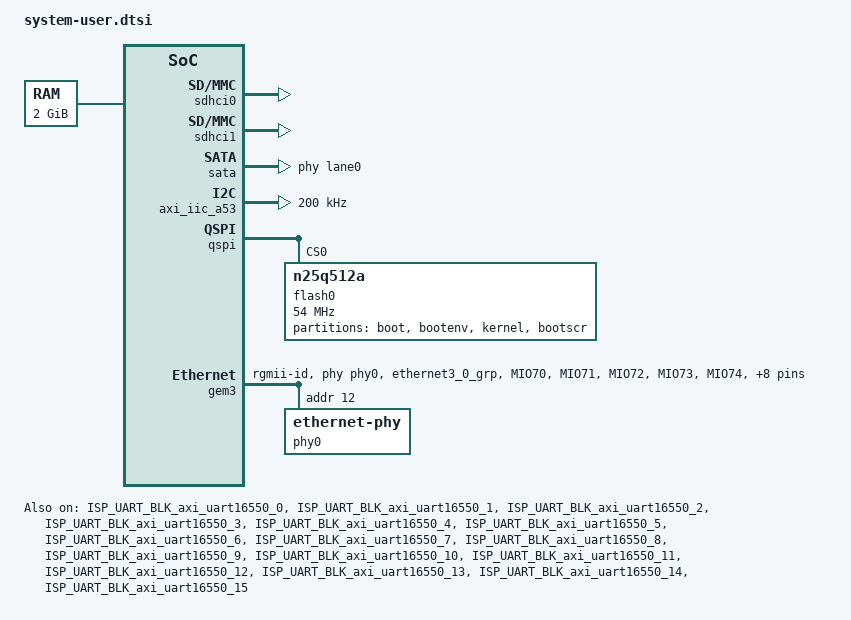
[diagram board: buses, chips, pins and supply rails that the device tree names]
/include/ "system-conf.dtsi"

/* EMMC */
&sdhci0 {
    status = "okay";
    max-frequency = <50000000>;
    /* clk-phase-sd-hs = <63>, <72>; */
};

/* SD */
&sdhci1 {
    status = "okay";
    max-frequency = <50000000>;
    no-1-8-v; /* for 1.0 silicon */
    disable-wp;
};

&sata {
    status = "okay";
    phy-names = "sata-phy";
    phys = <&lane0 1 0 0 150000000>,
           <&lane1 1 1 0 150000000>;
};

&axi_iic_a53 {
    clock-frequency = <200000>;
    status = "okay";
};

&INTERRUPT_axi_intc_1 {
    status = "ok";
};

&ISP_UART_BLK_axi_uart16550_0 {
    status = "okay";
    current-speed = <921600>;
};

&ISP_UART_BLK_axi_uart16550_1 {
    status = "okay";
    current-speed = <921600>;
};

&ISP_UART_BLK_axi_uart16550_2 {
    status = "okay";
    current-speed = <921600>;
};

&ISP_UART_BLK_axi_uart16550_3 {
    status = "okay";
    current-speed = <921600>;
};

&ISP_UART_BLK_axi_uart16550_4 {
    status = "okay";
    current-speed = <921600>;
};

&ISP_UART_BLK_axi_uart16550_5 {
    status = "okay";
    current-speed = <921600>;
};

&ISP_UART_BLK_axi_uart16550_6 {
    status = "okay";
    current-speed = <921600>;
};

&ISP_UART_BLK_axi_uart16550_7 {
    status = "okay";
    current-speed = <921600>;
};

&ISP_UART_BLK_axi_uart16550_8 {
    status = "okay";
    current-speed = <921600>;
};

&ISP_UART_BLK_axi_uart16550_9 {
    status = "okay";
    current-speed = <921600>;
};

&ISP_UART_BLK_axi_uart16550_10 {
    status = "okay";
    current-speed = <921600>;
};

&ISP_UART_BLK_axi_uart16550_11 {
    status = "okay";
    current-speed = <921600>;
};

&ISP_UART_BLK_axi_uart16550_12 {
    status = "okay";
    current-speed = <921600>;
};

&ISP_UART_BLK_axi_uart16550_13 {
    status = "okay";
    current-speed = <921600>;
};

&ISP_UART_BLK_axi_uart16550_14 {
    status = "okay";
    current-speed = <921600>;
};

&ISP_UART_BLK_axi_uart16550_15 {
    status = "okay";
    current-speed = <921600>;
};

&qspi {
    flash0: flash@0 {
        compatible = "n25q512a", "jedec,spi-nor"; /* 64MB */
        #address-cells = <1>;
        #size-cells = <1>;
        reg = <0x0>;
        spi-tx-bus-width = <4>;
        spi-rx-bus-width = <4>; /* FIXME also DUAL configuration possible */
        spi-max-frequency = <54000000>;
        partition@0 {
            label = "boot";
            reg = <0x00000000 0x01c00000>;
        };
        partition@1 {
            label = "bootenv";
            reg = <0x01c00000 0x00010000>;
        };
        partition@2 {
            label = "kernel";
            reg = <0x01c10000 0x01c00000>;
        };
        partition@3 {
            label = "bootscr";
            reg = <0x03810000 0x00080000>;
        };
    };
};

&uart1 {
    status = "disabled";
};

&spi0 {
    status = "disabled";
};

&can0 {
    status = "disabled";
};

&can1 {
    status = "disabled";
};

&i2c0 {
    status = "disabled";
};

&i2c1 {
    status = "disabled";
};

&CAN_BLK_can_0 {
    status = "disabled";
};

&CAN_BLK_can_1 {
    status = "disabled";
};

&CAN_BLK_can_2 {
    status = "disabled";
};

&CAN_BLK_can_3 {
    status = "disabled";
};

&CAN_BLK_can_4 {
    status = "disabled";
};

&CAN_BLK_can_5 {
    status = "disabled";
};

&CAN_BLK_can_6 {
    status = "disabled";
};

&CAN_BLK_canfd_7 {
    status = "disabled";
};

&INTERRUPT_axi_intc_0 {
    status = "disabled";
};

&gem3 {
    status = "okay";
    is-internal-pcspma = <0x1>;
    phy-handle = <&phy0>;
    phy-mode = "rgmii-id";
    pinctrl-names = "default";
    pinctrl-0 = <&pinctrl_gem3_default>;
    phy0: ethernet-phy@c {
        reg = <0xc>;
        ti,rx-internal-delay = <0x2>;
        ti,tx-internal-delay = <0xa>;
        ti,fifo-depth = <0x1>;
        ti,dp83867-rxctrl-strap-quirk;
    };
};

&pinctrl0 {
    status = "okay";
    pinctrl_gem3_default: gem3-default {
        mux {
            function = "ethernet3";
            groups = "ethernet3_0_grp";
        };

        conf {
            groups = "ethernet3_0_grp";
            slew-rate = <1>;
            io-standard = <1>;
        };

        conf-rx {
            pins = "MIO70", "MIO71", "MIO72", "MIO73", "MIO74",
                                    "MIO75";
            bias-high-impedance;
            low-power-disable;
        };

        conf-tx {
            pins = "MIO64", "MIO65", "MIO66", "MIO67", "MIO68",
                                    "MIO69";
            bias-disable;
            low-power-enable;
        };

        mux-mdio {
            function = "mdio3";
            groups = "mdio3_0_grp";
        };

        conf-mdio {
            groups = "mdio3_0_grp";
            slew-rate = <1>;
            io-standard = <1>;
            bias-disable;
        };
    };
};

/ {
    memory {
        device_type = "memory";
        reg = <0x0 0x0 0x0 0x7ff00000>, <0x0 0x80020000 0x0 0x10000>;
    };

    timesync {
        compatible = "momenta-timesync";
        timereg = <0x80050000>;
    };

    reserved-memory {
        #address-cells = <2>;
        #size-cells = <2>;
        ranges;
        rpu0vdev0vring0: rpu0vdev0vring0@3ed40000 {
            no-map;
            reg = <0x0 0x3ed40000 0x0 0x4000>;
        };
        rpu0vdev0vring1: rpu0vdev0vring1@3ed44000 {
            no-map;
            reg = <0x0 0x3ed44000 0x0 0x4000>;
        };
        rpu0vdev0buffer: rpu0vdev0buffer@3ed48000 {
            no-map;
            reg = <0x0 0x3ed48000 0x0 0x100000>;
        };
        rproc_0_reserved: rproc@3ee48000 {
            no-map;
            reg = <0x0 0x3ee48000 0x0 0x1000000>;
        };
        bram_reserved {
            reg = <0x0 0x80020000 0x0 0x10000>;
        };
    };

    zynqmp-rpu {
        compatible = "xlnx,zynqmp-r5-remoteproc-1.0";
        #address-cells = <2>;
        #size-cells = <2>;
        ranges;
        core_conf = "split";
        reg = <0x0 0xFF9A0000 0x0 0x10000>;
        r5_0: r5@0 {
            #address-cells = <2>;
            #size-cells = <2>;
            ranges;
            memory-region = <&rproc_0_reserved>, <&rpu0vdev0buffer>, <&rpu0vdev0vring0>, <&rpu0vdev0vring1>;
            pnode-id = <0x7>;
            mboxes = <&ipi_mailbox_rpu0 0>, <&ipi_mailbox_rpu0 1>;
            mbox-names = "tx", "rx";
            tcm_0_a: tcm_0@0 {
                reg = <0x0 0xFFE00000 0x0 0x10000>;
                pnode-id = <0xf>;
            };
            tcm_0_b: tcm_0@1 {
                reg = <0x0 0xFFE20000 0x0 0x10000>;
                pnode-id = <0x10>;
            };
        };
    };

    zynqmp_ipi1 {
        compatible = "xlnx,zynqmp-ipi-mailbox";
        interrupt-parent = <&gic>;
        interrupts = <0 29 4>;
        xlnx,ipi-id = <7>;
        #address-cells = <1>;
        #size-cells = <1>;
        ranges;

        /* APU<->RPU0 IPI mailbox controller */
        ipi_mailbox_rpu0: mailbox@ff990600 {
            reg = <0xff990600 0x20>,
                  <0xff990620 0x20>,
                  <0xff9900c0 0x20>,
                  <0xff9900e0 0x20>;
            reg-names = "local_request_region",
                    "local_response_region",
                    "remote_request_region",
                    "remote_response_region";
            #mbox-cells = <1>;
            xlnx,ipi-id = <1>;
        };
    };
};
